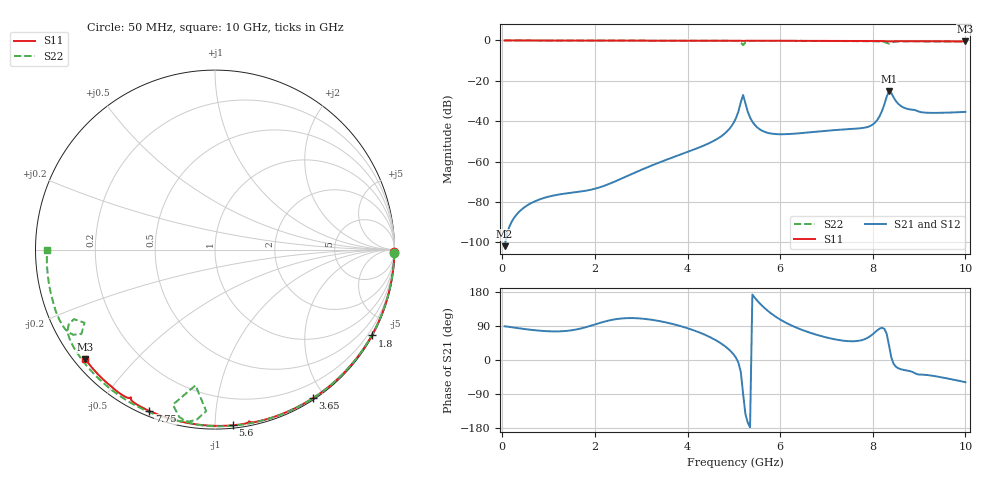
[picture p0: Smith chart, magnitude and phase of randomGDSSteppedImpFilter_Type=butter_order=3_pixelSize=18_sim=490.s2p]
! freq	dB(S11)	phase(S11)	dB(S12)	phase(S12)
!  dB(S21)	phase(S21)	dB(S22)	phase(S22)
!S-par simulation data
#  GHz  S  DB  R 50
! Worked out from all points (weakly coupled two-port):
!   200 points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, 50 MHz to 10 GHz, reference 50 ohm
!   highest |S21| = -25.17 dB at 8.35 GHz (marker M1); lowest = -101.9 dB at 50 MHz (marker M2)
!   lowest |S11| = -0.5 dB at 10 GHz (marker M3), VSWR 36.22, Z = 1.57 - j18.3 ohm
!   |S11| at or under -10 dB: nowhere
!   |S22| runs from -2.3 to 0.0 dB; largest |S21 - S12| = 0
!   S11 on the Smith chart (normalised r, x): 50 MHz: open; 1.8 GHz: 0.03, -3.91; 3.65 GHz: 0.02, -1.85; 5.6 GHz: 0.02, -1.11; 7.75 GHz: 0.02, -0.67; 10 GHz: 0.03, -0.37
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0.05  -0.00 -0.8  -101.94 89.1  -101.94 89.1  -0.00 -1.0
0.65  -0.01 -10.5  -80.29 79.2  -80.29 79.2  -0.02 -13.3
1.75  -0.04 -27.9  -74.68 84.8  -74.68 84.8  -0.04 -35.5
1.8  -0.04 -28.7  -74.48 86.4  -74.48 86.4  -0.05 -36.5
3.4  -0.07 -53.1  -60.37 102.5  -60.37 102.5  -0.09 -67.2
3.65  -0.08 -56.7  -58.19 95.9  -58.19 95.9  -0.10 -71.9
4.65  -0.10 -71.1  -48.66 49.4  -48.66 49.4  -0.14 -90.4
4.9  -0.11 -74.7  -43.90 26.9  -43.90 26.9  -0.17 -95.5
5.05  -0.12 -76.8  -38.27 5.0  -38.27 5.0  -0.27 -99.8
5.15  -0.16 -78.4  -30.60 -31.3  -30.60 -31.3  -0.96 -105.2
5.2  -0.22 -78.8  -27.03 -89.3  -27.03 -89.3  -2.34 -98.2
5.25  -0.17 -79.2  -31.07 -142.7  -31.07 -142.7  -0.90 -93.1
5.35  -0.14 -80.6  -38.16 -177.6  -38.16 -177.6  -0.30 -98.2
5.6  -0.14 -84.1  -44.60 144.4  -44.60 144.4  -0.20 -104.4
5.95  -0.15 -88.8  -46.45 110.6  -46.45 110.6  -0.20 -111.0
6.7  -0.19 -98.7  -45.39 69.8  -45.39 69.8  -0.25 -123.9
7.75  -0.26 -112.2  -43.47 51.9  -43.47 51.9  -0.35 -141.9
8.1  -0.29 -116.7  -39.30 78.6  -39.30 78.6  -0.45 -148.7
8.35  -0.48 -119.7  -25.17 39.1  -25.17 39.1  -1.58 -150.7
8.55  -0.35 -121.6  -31.39 -21.8  -31.39 -21.8  -0.49 -152.1
8.75  -0.35 -124.3  -33.94 -28.1  -33.94 -28.1  -0.44 -156.6
10  -0.48 -139.7  -35.40 -58.5  -35.40 -58.5  -0.57 -179.7
